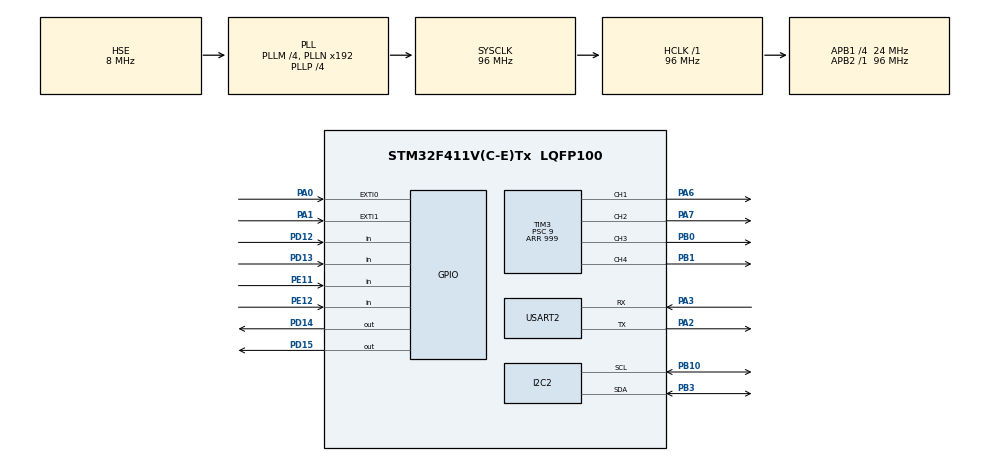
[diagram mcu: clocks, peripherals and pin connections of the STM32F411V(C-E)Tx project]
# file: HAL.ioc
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Dma.Request0=USART2_RX
Dma.Request1=USART2_TX
Dma.USART2_RX.0.Direction=DMA_PERIPH_TO_MEMORY
Dma.USART2_RX.0.FIFOMode=DMA_FIFOMODE_DISABLE
Dma.USART2_RX.0.Instance=DMA1_Stream5
Dma.USART2_RX.0.MemDataAlignment=DMA_MDATAALIGN_BYTE
Dma.USART2_RX.0.MemInc=DMA_MINC_ENABLE
Dma.USART2_RX.0.Mode=DMA_CIRCULAR
Dma.USART2_RX.0.PeriphDataAlignment=DMA_PDATAALIGN_BYTE
Dma.USART2_RX.0.PeriphInc=DMA_PINC_DISABLE
Dma.USART2_RX.0.Priority=DMA_PRIORITY_VERY_HIGH
Dma.USART2_TX.1.Direction=DMA_MEMORY_TO_PERIPH
Dma.USART2_TX.1.FIFOMode=DMA_FIFOMODE_DISABLE
Dma.USART2_TX.1.Instance=DMA1_Stream6
Dma.USART2_TX.1.MemDataAlignment=DMA_MDATAALIGN_BYTE
Dma.USART2_TX.1.MemInc=DMA_MINC_ENABLE
Dma.USART2_TX.1.Mode=DMA_NORMAL
Dma.USART2_TX.1.PeriphDataAlignment=DMA_PDATAALIGN_BYTE
Dma.USART2_TX.1.PeriphInc=DMA_PINC_DISABLE
Dma.USART2_TX.1.Priority=DMA_PRIORITY_VERY_HIGH
FREERTOS.Tasks01=defaultTask,24,3000,StartDefaultTask,Default,NULL,Dynamic,NULL,NULL
Mcu.Family=STM32F4
Mcu.Name=STM32F411V(C-E)Tx
Mcu.Package=LQFP100
NVIC.DMA1_Stream5_IRQn=true\:5\:0\:false\:false\:true\:true\:false\:true\:true
NVIC.DMA1_Stream6_IRQn=true\:5\:0\:false\:false\:true\:true\:false\:true\:true
NVIC.EXTI0_IRQn=true\:5\:0\:false\:false\:true\:false\:true\:true\:true
NVIC.EXTI1_IRQn=true\:5\:0\:false\:false\:true\:false\:true\:true\:true
NVIC.PriorityGroup=NVIC_PRIORITYGROUP_4
NVIC.USART2_IRQn=true\:5\:0\:false\:false\:true\:true\:true\:true\:true
PA0-WKUP.GPIO_ModeDefaultEXTI=GPIO_MODE_IT_RISING
PA0-WKUP.Signal=GPXTI0
PA1.GPIO_ModeDefaultEXTI=GPIO_MODE_IT_RISING
PA1.Signal=GPXTI1
PA13.Mode=Serial_Wire
PA13.Signal=SYS_JTMS-SWDIO
PA14.Mode=Serial_Wire
PA14.Signal=SYS_JTCK-SWCLK
PA2.Mode=Asynchronous
PA2.Signal=USART2_TX
PA3.Mode=Asynchronous
PA3.Signal=USART2_RX
PA6.Signal=S_TIM3_CH1
PA7.Signal=S_TIM3_CH2
PB0.Signal=S_TIM3_CH3
PB1.Signal=S_TIM3_CH4
PB10.Mode=I2C
PB10.Signal=I2C2_SCL
PB3.Mode=I2C
PB3.Signal=I2C2_SDA
PC14-OSC32_IN.Mode=LSE-External-Oscillator
PC14-OSC32_IN.Signal=RCC_OSC32_IN
PC15-OSC32_OUT.Mode=LSE-External-Oscillator
PC15-OSC32_OUT.Signal=RCC_OSC32_OUT
PD12.Signal=GPIO_Input
PD13.Signal=GPIO_Input
PD14.Signal=GPIO_Output
PD15.Signal=GPIO_Output
PE11.Signal=GPIO_Input
PE12.Signal=GPIO_Input
PH0\ -\ OSC_IN.Mode=HSE-External-Oscillator
PH0\ -\ OSC_IN.Signal=RCC_OSC_IN
PH1\ -\ OSC_OUT.Mode=HSE-External-Oscillator
PH1\ -\ OSC_OUT.Signal=RCC_OSC_OUT
ProjectManager.HeapSize=0x200
ProjectManager.StackSize=0x400
ProjectManager.TargetToolchain=STM32CubeIDE
RCC.48MHZClocksFreq_Value=48000000
RCC.AHBFreq_Value=96000000
RCC.APB1CLKDivider=RCC_HCLK_DIV4
RCC.APB1Freq_Value=24000000
RCC.APB1TimFreq_Value=48000000
RCC.APB2Freq_Value=96000000
RCC.APB2TimFreq_Value=96000000
RCC.CortexFreq_Value=96000000
RCC.HCLKFreq_Value=96000000
RCC.HSE_VALUE=8000000
RCC.HSI_VALUE=16000000
RCC.PLLI2SM=5
RCC.PLLI2SN=200
RCC.PLLM=4
RCC.PLLP=RCC_PLLP_DIV4
RCC.PLLQ=8
RCC.PLLSourceVirtual=RCC_PLLSOURCE_HSE
RCC.SYSCLKFreq_VALUE=96000000
RCC.SYSCLKSource=RCC_SYSCLKSOURCE_PLLCLK
RCC.VCOOutputFreq_Value=384000000
SH.S_TIM3_CH1.0=TIM3_CH1,PWM Generation1 CH1
SH.S_TIM3_CH2.0=TIM3_CH2,PWM Generation2 CH2
SH.S_TIM3_CH3.0=TIM3_CH3,PWM Generation3 CH3
SH.S_TIM3_CH4.0=TIM3_CH4,PWM Generation4 CH4
TIM3.AutoReloadPreload=TIM_AUTORELOAD_PRELOAD_ENABLE
TIM3.Channel-PWM\ Generation1\ CH1=TIM_CHANNEL_1
TIM3.Channel-PWM\ Generation2\ CH2=TIM_CHANNEL_2
TIM3.Channel-PWM\ Generation3\ CH3=TIM_CHANNEL_3
TIM3.Channel-PWM\ Generation4\ CH4=TIM_CHANNEL_4
TIM3.Period=999
TIM3.Prescaler=9
USART2.VirtualMode=VM_ASYNC
VP_FREERTOS_VS_CMSIS_V2.Mode=CMSIS_V2
VP_TIM3_VS_ClockSourceINT.Mode=Internal
board=STM32F411E-DISCO

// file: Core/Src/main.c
/* USER CODE BEGIN Header */
/**
  ******************************************************************************
  * @file           : main.c
  * @brief          : Main program body
  ******************************************************************************
  * @attention
  *
  * Copyright (c) 2024 STMicroelectronics.
  * All rights reserved.
  *
  * This software is licensed under terms that can be found in the LICENSE file
  * in the root directory of this software component.
  * If no LICENSE file comes with this software, it is provided AS-IS.
  *
  ******************************************************************************
  */
/* USER CODE END Header */
#include "main.h"
#include "cmsis_os.h"

/* USER CODE BEGIN Includes */
#include <rcl/rcl.h>
#include <rcl/error_handling.h>
#include <rclc/rclc.h>
#include <rclc/executor.h>
#include <uxr/client/transport.h>
#include <rmw_microxrcedds_c/config.h>
#include <rmw_microros/rmw_microros.h>

#include <std_msgs/msg/int16.h>

#include <geometry_msgs/msg/twist.h>
#include <stdio.h>
#include <string.h>

#include "mpu.h"
/* USER CODE END Includes */

I2C_HandleTypeDef hi2c2;

TIM_HandleTypeDef htim3;

UART_HandleTypeDef huart2;
DMA_HandleTypeDef hdma_usart2_rx;
DMA_HandleTypeDef hdma_usart2_tx;

/* Definitions for defaultTask */
osThreadId_t defaultTaskHandle;
const osThreadAttr_t defaultTask_attributes = {
  .name = "defaultTask",
  .stack_size = 3000 * 4,
  .priority = (osPriority_t) osPriorityNormal,
};
/* USER CODE BEGIN PV */
static int32_t LeftWheelEncoder=0;
static int32_t RightWheelEncoder=0;

double LeftWheelVelocity;
double RightWheelVelocity;

double LeftMotorSpeed;
double RightMotorSpeed;

const double Length = 0.225;    //distance between wheel and center of bot
const double WheelRadius = 0.07;

mpu_struct mpu = {0};
/* USER CODE END PV */

void SystemClock_Config(void);
static void MX_GPIO_Init(void);
static void MX_DMA_Init(void);
static void MX_USART2_UART_Init(void);
static void MX_TIM3_Init(void);
static void MX_I2C2_Init(void);
void StartDefaultTask(void *argument);

/* USER CODE BEGIN 0 */
#define MPU6050_ADDR 0xD0

#define SMPLRT_DIV_REG 0x19
#define GYRO_CONFIG_REG 0x1B
#define ACCEL_CONFIG_REG 0x1C
#define ACCEL_XOUT_H_REG 0x3B
#define TEMP_OUT_H_REG 0x41
#define GYRO_XOUT_H_REG 0x43
#define PWR_MGMT_1_REG 0x6B
#define WHO_AM_I_REG 0x75

void subscription_cmd_vel_callback(const void * msgin)
{
	geometry_msgs__msg__Twist * msg = (geometry_msgs__msg__Twist *)msgin;

	LeftWheelVelocity = msg->linear.x - msg->angular.z*Length;
	RightWheelVelocity = msg->linear.x + msg->angular.z*Length;

	LeftMotorSpeed = (int)(LeftWheelVelocity/WheelRadius) * 60/6.2831;            //w of motor in rpm
	RightMotorSpeed = (int)(RightWheelVelocity/WheelRadius) * 60/6.2831;

	//PWM2 Right motor PA6
	//PWM1 Right motor PA7
	//PWM2 Left motor PB1
	//PWM1 Left motor PB0

	if (LeftMotorSpeed>=0 && LeftMotorSpeed<=1000 && RightMotorSpeed>=0 && RightMotorSpeed<=1000)	//front
	{
 		TIM3->CCR1 = LeftMotorSpeed;
//		TIM3->CCR2 = 0;
		TIM3->CCR3 = RightMotorSpeed;
//		TIM3->CCR4 = 0;
		HAL_GPIO_WritePin(GPIOD, GPIO_PIN_15, 1);
		HAL_GPIO_WritePin(GPIOD, GPIO_PIN_14, 0);
//		HAL_GPIO_WritePin(GPIOD, GPIO_PIN_15, 1);
//		HAL_GPIO_WritePin(GPIOD, GPIO_PIN_14, 0);
//		HAL_GPIO_WritePin(GPIOD, GPIO_PIN_13, 0);
//		HAL_GPIO_WritePin(GPIOD, GPIO_PIN_12, 0);
	}
	else if (LeftMotorSpeed<=0 && LeftMotorSpeed>=-1000 && RightMotorSpeed<=0 && RightMotorSpeed>=-1000)	//back
	{
//		TIM3->CCR1 = 0;
//		TIM3->CCR2 = -LeftMotorSpeed;
////		TIM3->CCR3 = 0;
//		TIM3->CCR4 = -RightMotorSpeed;
//		HAL_GPIO_WritePin(GPIOD, GPIO_PIN_15, 0);
//		HAL_GPIO_WritePin(GPIOD, GPIO_PIN_14, 1);
//		HAL_GPIO_WritePin(GPIOD, GPIO_PIN_13, 0);
//		HAL_GPIO_WritePin(GPIOD, GPIO_PIN_12, 0);
		TIM3->CCR1 = -LeftMotorSpeed;
//		TIM3->CCR2 = 0;
		TIM3->CCR3 = -RightMotorSpeed;
//		TIM3->CCR4 = 0;
		HAL_GPIO_WritePin(GPIOD, GPIO_PIN_15, 0);
		HAL_GPIO_WritePin(GPIOD, GPIO_PIN_14, 1);
	}
	else if (LeftMotorSpeed<=0 && LeftMotorSpeed>=-1000 && RightMotorSpeed>=0 && RightMotorSpeed<=1000)		//left
	{
//		TIM3->CCR1 = -LeftMotorSpeed;
//		TIM3->CCR2 = 0;
//		TIM3->CCR3 = 0;
//		TIM3->CCR4 = RightMotorSpeed;
//		HAL_GPIO_WritePin(GPIOD, GPIO_PIN_15, 0);
//		HAL_GPIO_WritePin(GPIOD, GPIO_PIN_14, 0);
//		HAL_GPIO_WritePin(GPIOD, GPIO_PIN_13, 1);
//		HAL_GPIO_WritePin(GPIOD, GPIO_PIN_12, 0);
		TIM3->CCR1 = -LeftMotorSpeed;
//		TIM3->CCR2 = 0;
		TIM3->CCR3 = RightMotorSpeed;
//		TIM3->CCR4 = 0;
		HAL_GPIO_WritePin(GPIOD, GPIO_PIN_15, 0);
		HAL_GPIO_WritePin(GPIOD, GPIO_PIN_14, 0);
	}
	else if (LeftMotorSpeed>=0 && LeftMotorSpeed<=1000 && RightMotorSpeed<=0 && RightMotorSpeed>=-1000)		//right
	{
//		TIM3->CCR1 = 0;
//		TIM3->CCR2 = LeftMotorSpeed;
//		TIM3->CCR3 = -RightMotorSpeed;
//		TIM3->CCR4 = 0;
//		HAL_GPIO_WritePin(GPIOD, GPIO_PIN_15, 0);
//		HAL_GPIO_WritePin(GPIOD, GPIO_PIN_14, 0);
//		HAL_GPIO_WritePin(GPIOD, GPIO_PIN_13, 0);
//		HAL_GPIO_WritePin(GPIOD, GPIO_PIN_12, 1);
		TIM3->CCR1 = LeftMotorSpeed;
//		TIM3->CCR2 = 0;
		TIM3->CCR3 = -RightMotorSpeed;
//		TIM3->CCR4 = 0;
		HAL_GPIO_WritePin(GPIOD, GPIO_PIN_15, 1);
		HAL_GPIO_WritePin(GPIOD, GPIO_PIN_14, 1);
	}
	else
	{
		TIM3->CCR1 = 0;
		TIM3->CCR2 = 0;
		TIM3->CCR3 = 0;
		TIM3->CCR4 = 0;
//		HAL_GPIO_WritePin(GPIOD, GPIO_PIN_15, 0);
//		HAL_GPIO_WritePin(GPIOD, GPIO_PIN_14, 0);
//		HAL_GPIO_WritePin(GPIOD, GPIO_PIN_13, 0);
//		HAL_GPIO_WritePin(GPIOD, GPIO_PIN_12, 0);
	}
}

void HAL_GPIO_EXTI_Callback(uint16_t GPIO_Pin)
{
	if (GPIO_Pin == GPIO_PIN_0)					//PA0 LeftWheelEncoderChannelA  PE11 LeftWheelEncoderChannelB
	{
//		LeftWheelEncoder++;
		if (HAL_GPIO_ReadPin(GPIOE, GPIO_PIN_11) == 1) LeftWheelEncoder++;
		else if (HAL_GPIO_ReadPin(GPIOE, GPIO_PIN_11) == 0) LeftWheelEncoder--;
//		if (HAL_GPIO_ReadPin(GPIOE, GPIO_PIN_11) == 1) LeftWheelEncoder--;
//		else if (HAL_GPIO_ReadPin(GPIOE, GPIO_PIN_11) == 0) LeftWheelEncoder++;

//		switch(HAL_GPIO_ReadPin(GPIOE, GPIO_PIN_11))
	}
	else if (GPIO_Pin == GPIO_PIN_1)					//PA1 RightWheelEncoderChannelA  PE12 RightWheelEncoderChannelB
	{
//		RightWheelEncoder++;
		if (HAL_GPIO_ReadPin(GPIOE, GPIO_PIN_12) == 0) RightWheelEncoder++;
		else if (HAL_GPIO_ReadPin(GPIOE, GPIO_PIN_12) == 1) RightWheelEncoder--;
	}
}
/* USER CODE END 0 */

int main(void)
{

  /* MCU Configuration--------------------------------------------------------*/

  /* Reset of all peripherals, Initializes the Flash interface and the Systick. */
  HAL_Init();

  /* Configure the system clock */
  SystemClock_Config();

  /* Initialize all configured peripherals */
  MX_GPIO_Init();
  MX_DMA_Init();
  MX_USART2_UART_Init();
  MX_TIM3_Init();
  MX_I2C2_Init();
  /* USER CODE BEGIN 2 */

  mpu_init(&mpu,&hi2c2);
  HAL_TIM_PWM_Start(&htim3,TIM_CHANNEL_1);
  HAL_TIM_PWM_Start(&htim3,TIM_CHANNEL_2);
  HAL_TIM_PWM_Start(&htim3,TIM_CHANNEL_3);
  HAL_TIM_PWM_Start(&htim3,TIM_CHANNEL_4);
  /* USER CODE END 2 */

  /* Init scheduler */
  osKernelInitialize();

  /* Create the thread(s) */
  /* creation of defaultTask */
  defaultTaskHandle = osThreadNew(StartDefaultTask, NULL, &defaultTask_attributes);

  /* Start scheduler */
  osKernelStart();

  /* We should never get here as control is now taken by the scheduler */

  /* Infinite loop */
  while (1)
  {

  }
}

void SystemClock_Config(void)
{
  RCC_OscInitTypeDef RCC_OscInitStruct = {0};
  RCC_ClkInitTypeDef RCC_ClkInitStruct = {0};

  /** Configure the main internal regulator output voltage
  */
  __HAL_RCC_PWR_CLK_ENABLE();
  __HAL_PWR_VOLTAGESCALING_CONFIG(PWR_REGULATOR_VOLTAGE_SCALE1);

  /** Initializes the RCC Oscillators according to the specified parameters
  * in the RCC_OscInitTypeDef structure.
  */
  RCC_OscInitStruct.OscillatorType = RCC_OSCILLATORTYPE_HSE;
  RCC_OscInitStruct.HSEState = RCC_HSE_ON;
  RCC_OscInitStruct.PLL.PLLState = RCC_PLL_ON;
  RCC_OscInitStruct.PLL.PLLSource = RCC_PLLSOURCE_HSE;
  RCC_OscInitStruct.PLL.PLLM = 4;
  RCC_OscInitStruct.PLL.PLLN = 192;
  RCC_OscInitStruct.PLL.PLLP = RCC_PLLP_DIV4;
  RCC_OscInitStruct.PLL.PLLQ = 8;
  if (HAL_RCC_OscConfig(&RCC_OscInitStruct) != HAL_OK)
  {
    Error_Handler();
  }

  /** Initializes the CPU, AHB and APB buses clocks
  */
  RCC_ClkInitStruct.ClockType = RCC_CLOCKTYPE_HCLK|RCC_CLOCKTYPE_SYSCLK
                              |RCC_CLOCKTYPE_PCLK1|RCC_CLOCKTYPE_PCLK2;
  RCC_ClkInitStruct.SYSCLKSource = RCC_SYSCLKSOURCE_PLLCLK;
  RCC_ClkInitStruct.AHBCLKDivider = RCC_SYSCLK_DIV1;
  RCC_ClkInitStruct.APB1CLKDivider = RCC_HCLK_DIV4;
  RCC_ClkInitStruct.APB2CLKDivider = RCC_HCLK_DIV1;

  if (HAL_RCC_ClockConfig(&RCC_ClkInitStruct, FLASH_LATENCY_3) != HAL_OK)
  {
    Error_Handler();
  }
}

static void MX_I2C2_Init(void)
{

  hi2c2.Instance = I2C2;
  hi2c2.Init.ClockSpeed = 100000;
  hi2c2.Init.DutyCycle = I2C_DUTYCYCLE_2;
  hi2c2.Init.OwnAddress1 = 0;
  hi2c2.Init.AddressingMode = I2C_ADDRESSINGMODE_7BIT;
  hi2c2.Init.DualAddressMode = I2C_DUALADDRESS_DISABLE;
  hi2c2.Init.OwnAddress2 = 0;
  hi2c2.Init.GeneralCallMode = I2C_GENERALCALL_DISABLE;
  hi2c2.Init.NoStretchMode = I2C_NOSTRETCH_DISABLE;
  if (HAL_I2C_Init(&hi2c2) != HAL_OK)
  {
    Error_Handler();
  }

}

static void MX_TIM3_Init(void)
{

  TIM_ClockConfigTypeDef sClockSourceConfig = {0};
  TIM_MasterConfigTypeDef sMasterConfig = {0};
  TIM_OC_InitTypeDef sConfigOC = {0};

  htim3.Instance = TIM3;
  htim3.Init.Prescaler = 9;
  htim3.Init.CounterMode = TIM_COUNTERMODE_UP;
  htim3.Init.Period = 999;
  htim3.Init.ClockDivision = TIM_CLOCKDIVISION_DIV1;
  htim3.Init.AutoReloadPreload = TIM_AUTORELOAD_PRELOAD_ENABLE;
  if (HAL_TIM_Base_Init(&htim3) != HAL_OK)
  {
    Error_Handler();
  }
  sClockSourceConfig.ClockSource = TIM_CLOCKSOURCE_INTERNAL;
  if (HAL_TIM_ConfigClockSource(&htim3, &sClockSourceConfig) != HAL_OK)
  {
    Error_Handler();
  }
  if (HAL_TIM_PWM_Init(&htim3) != HAL_OK)
  {
    Error_Handler();
  }
  sMasterConfig.MasterOutputTrigger = TIM_TRGO_RESET;
  sMasterConfig.MasterSlaveMode = TIM_MASTERSLAVEMODE_DISABLE;
  if (HAL_TIMEx_MasterConfigSynchronization(&htim3, &sMasterConfig) != HAL_OK)
  {
    Error_Handler();
  }
  sConfigOC.OCMode = TIM_OCMODE_PWM1;
  sConfigOC.Pulse = 0;
  sConfigOC.OCPolarity = TIM_OCPOLARITY_HIGH;
  sConfigOC.OCFastMode = TIM_OCFAST_DISABLE;
  if (HAL_TIM_PWM_ConfigChannel(&htim3, &sConfigOC, TIM_CHANNEL_1) != HAL_OK)
  {
    Error_Handler();
  }
  if (HAL_TIM_PWM_ConfigChannel(&htim3, &sConfigOC, TIM_CHANNEL_2) != HAL_OK)
  {
    Error_Handler();
  }
  if (HAL_TIM_PWM_ConfigChannel(&htim3, &sConfigOC, TIM_CHANNEL_3) != HAL_OK)
  {
    Error_Handler();
  }
  if (HAL_TIM_PWM_ConfigChannel(&htim3, &sConfigOC, TIM_CHANNEL_4) != HAL_OK)
  {
    Error_Handler();
  }
  HAL_TIM_MspPostInit(&htim3);

}

static void MX_USART2_UART_Init(void)
{

  huart2.Instance = USART2;
  huart2.Init.BaudRate = 115200;
  huart2.Init.WordLength = UART_WORDLENGTH_8B;
  huart2.Init.StopBits = UART_STOPBITS_1;
  huart2.Init.Parity = UART_PARITY_NONE;
  huart2.Init.Mode = UART_MODE_TX_RX;
  huart2.Init.HwFlowCtl = UART_HWCONTROL_NONE;
  huart2.Init.OverSampling = UART_OVERSAMPLING_16;
  if (HAL_UART_Init(&huart2) != HAL_OK)
  {
    Error_Handler();
  }

}

static void MX_DMA_Init(void)
{

  /* DMA controller clock enable */
  __HAL_RCC_DMA1_CLK_ENABLE();

  /* DMA interrupt init */
  /* DMA1_Stream5_IRQn interrupt configuration */
  HAL_NVIC_SetPriority(DMA1_Stream5_IRQn, 5, 0);
  HAL_NVIC_EnableIRQ(DMA1_Stream5_IRQn);
  /* DMA1_Stream6_IRQn interrupt configuration */
  HAL_NVIC_SetPriority(DMA1_Stream6_IRQn, 5, 0);
  HAL_NVIC_EnableIRQ(DMA1_Stream6_IRQn);

}

static void MX_GPIO_Init(void)
{
  GPIO_InitTypeDef GPIO_InitStruct = {0};

  /* GPIO Ports Clock Enable */
  __HAL_RCC_GPIOC_CLK_ENABLE();
  __HAL_RCC_GPIOH_CLK_ENABLE();
  __HAL_RCC_GPIOA_CLK_ENABLE();
  __HAL_RCC_GPIOB_CLK_ENABLE();
  __HAL_RCC_GPIOE_CLK_ENABLE();
  __HAL_RCC_GPIOD_CLK_ENABLE();

  /*Configure GPIO pin Output Level */
  HAL_GPIO_WritePin(GPIOD, GPIO_PIN_14|GPIO_PIN_15, GPIO_PIN_RESET);

  /*Configure GPIO pins : PA0 PA1 */
  GPIO_InitStruct.Pin = GPIO_PIN_0|GPIO_PIN_1;
  GPIO_InitStruct.Mode = GPIO_MODE_IT_RISING;
  GPIO_InitStruct.Pull = GPIO_NOPULL;
  HAL_GPIO_Init(GPIOA, &GPIO_InitStruct);

  /*Configure GPIO pins : PE11 PE12 */
  GPIO_InitStruct.Pin = GPIO_PIN_11|GPIO_PIN_12;
  GPIO_InitStruct.Mode = GPIO_MODE_INPUT;
  GPIO_InitStruct.Pull = GPIO_NOPULL;
  HAL_GPIO_Init(GPIOE, &GPIO_InitStruct);

  /*Configure GPIO pins : PD12 PD13 */
  GPIO_InitStruct.Pin = GPIO_PIN_12|GPIO_PIN_13;
  GPIO_InitStruct.Mode = GPIO_MODE_INPUT;
  GPIO_InitStruct.Pull = GPIO_NOPULL;
  HAL_GPIO_Init(GPIOD, &GPIO_InitStruct);

  /*Configure GPIO pins : PD14 PD15 */
  GPIO_InitStruct.Pin = GPIO_PIN_14|GPIO_PIN_15;
  GPIO_InitStruct.Mode = GPIO_MODE_OUTPUT_PP;
  GPIO_InitStruct.Pull = GPIO_NOPULL;
  GPIO_InitStruct.Speed = GPIO_SPEED_FREQ_LOW;
  HAL_GPIO_Init(GPIOD, &GPIO_InitStruct);

  /* EXTI interrupt init*/
  HAL_NVIC_SetPriority(EXTI0_IRQn, 5, 0);
  HAL_NVIC_EnableIRQ(EXTI0_IRQn);

  HAL_NVIC_SetPriority(EXTI1_IRQn, 5, 0);
  HAL_NVIC_EnableIRQ(EXTI1_IRQn);

}

/* USER CODE BEGIN 4 */
bool cubemx_transport_open(struct uxrCustomTransport * transport);
bool cubemx_transport_close(struct uxrCustomTransport * transport);
size_t cubemx_transport_write(struct uxrCustomTransport* transport, const uint8_t * buf, size_t len, uint8_t * err);
size_t cubemx_transport_read(struct uxrCustomTransport* transport, uint8_t* buf, size_t len, int timeout, uint8_t* err);

void * microros_allocate(size_t size, void * state);
void microros_deallocate(void * pointer, void * state);
void * microros_reallocate(void * pointer, size_t size, void * state);
void * microros_zero_allocate(size_t number_of_elements, size_t size_of_element, void * state);
/* USER CODE END 4 */

void StartDefaultTask(void *argument)
{
  /* USER CODE BEGIN 5 */

	  // micro-ROS configuration

	  rmw_uros_set_custom_transport(
	    true,
	    (void *) &huart2,
	    cubemx_transport_open,
	    cubemx_transport_close,
	    cubemx_transport_write,
	    cubemx_transport_read);

	  rcl_allocator_t freeRTOS_allocator = rcutils_get_zero_initialized_allocator();
	  freeRTOS_allocator.allocate = microros_allocate;
	  freeRTOS_allocator.deallocate = microros_deallocate;
	  freeRTOS_allocator.reallocate = microros_reallocate;
	  freeRTOS_allocator.zero_allocate =  microros_zero_allocate;

	  if (!rcutils_set_default_allocator(&freeRTOS_allocator)) {
	      printf("Error on default allocators (line %d)\n", __LINE__);
	  }

	  // micro-ROS app

	  rcl_publisher_t publisher1;
	  rcl_publisher_t publisher2;
	  rcl_subscription_t subscriber_cmd_vel;
	  std_msgs__msg__Int16 msg1;
	  std_msgs__msg__Int16 msg2;
	  geometry_msgs__msg__Twist sub_cmd_vel_msg;
	  rclc_support_t support;
	  rcl_allocator_t allocator;
	  rcl_node_t node;
	  geometry_msgs__msg__Twist imu;
     rcl_publisher_t imu_pub;

	  allocator = rcl_get_default_allocator();

	  //create init_options
	  rclc_support_init(&support, 0, NULL, &allocator);

	  // create node
	  rclc_node_init_default(&node, "stm32_microros", "", &support);

	  // create publisher
	  rclc_publisher_init_default(
	    &publisher1,
	    &node,
	    ROSIDL_GET_MSG_TYPE_SUPPORT(std_msgs, msg, Int16),
	    "lwheel");

	  rclc_publisher_init_default(
	  	    &publisher2,
	  	    &node,
	  	    ROSIDL_GET_MSG_TYPE_SUPPORT(std_msgs, msg, Int16),
	  	    "rwheel");
	  rclc_publisher_init_default(
			&imu_pub,
	  		&node,
	  		ROSIDL_GET_MSG_TYPE_SUPPORT(geometry_msgs, msg, Twist),
	  		"imu_raw");

	  // create subscriber

	  	  rclc_subscription_init_default(
	  	     &subscriber_cmd_vel,
	  	     &node,
	  	     ROSIDL_GET_MSG_TYPE_SUPPORT(geometry_msgs, msg, Twist),
	  	     "cmd_vel");

	  	// create executor
	  	rclc_executor_t executor = rclc_executor_get_zero_initialized_executor();
	  	rclc_executor_init(&executor, &support.context, 2, &allocator);
	  	rclc_executor_add_subscription(&executor, &subscriber_cmd_vel, &sub_cmd_vel_msg, &subscription_cmd_vel_callback, ON_NEW_DATA);

	  for(;;)
	  {
		msg1.data = LeftWheelEncoder;
		msg2.data = RightWheelEncoder;

		mpu_read(&mpu);

		imu.linear.x = mpu.ax;
		imu.linear.y = mpu.ay;
		imu.linear.z = mpu.az;

		imu.angular.x = mpu.gx;
		imu.angular.y = mpu.gy;
		imu.angular.z = mpu.gz;

	    rcl_ret_t ret1 = rcl_publish(&publisher1, &msg1, NULL);
	    rcl_ret_t ret2 = rcl_publish(&publisher2, &msg2, NULL);

	    rcl_publish(&imu_pub, &imu, NULL);

	    rclc_executor_spin_some(&executor, 1000);    	// waits for 1000ns for ros data, theres no data it continues, if there is data then it executes subscription callback

	    if ((ret1 | ret2) != RCL_RET_OK)
	    {
	      printf("Error publishing (line %d)\n", __LINE__);
	    }
	    osDelay(10);
	  }

//	  rclc_executor_spin(&executor);
  /* USER CODE END 5 */
}

void Error_Handler(void)
{
  __disable_irq();
  while (1)
  {
  }
}
